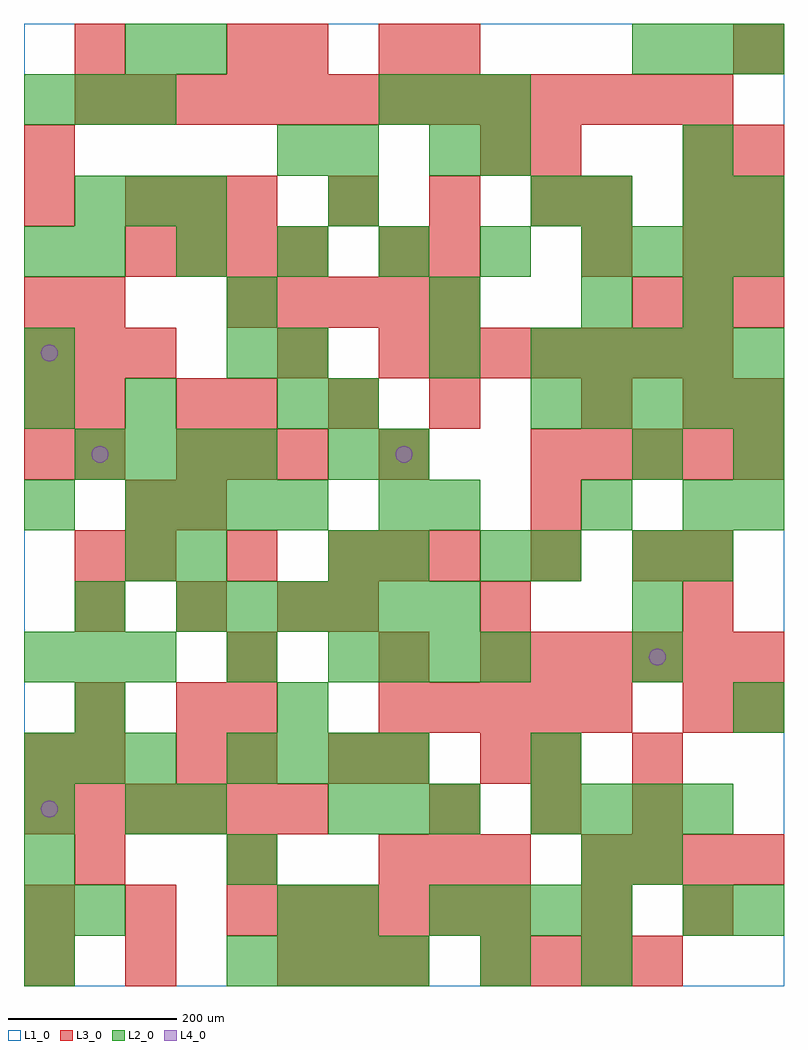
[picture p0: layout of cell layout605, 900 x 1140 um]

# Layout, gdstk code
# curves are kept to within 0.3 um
import gdstk
lib = gdstk.Library(unit=1e-6, precision=1e-09)
def R(c, l, rs):  # rectangles x0, y0, x1, y1
    for r in rs: c.add(gdstk.rectangle(r[:2], r[2:], *l))
def A(c, l, x, y, w, h, nx, ny, dx, dy):  # array of equal rectangles
    R(c, l, [(x+i*dx, y+j*dy, x+i*dx+w, y+j*dy+h) for i in range(nx) for j in range(ny)])
def P(c, l, *ps):  # polygons
    for p in ps: c.add(gdstk.Polygon(p, *l))
L1_0 = (1, 0)
L2_0 = (2, 0)
L3_0 = (3, 0)
L4_0 = (4, 0)

layout605 = lib.new_cell('layout605')
R(layout605, L1_0, [(0,0,900,1140)])
A(layout605, L2_0, 0, 0, 60, 60, 1, 4, 0, 60)
A(layout605, L2_0, 240, 0, 60, 60, 4, 2, 60, 240)
A(layout605, L2_0, 540, 0, 60, 60, 1, 3, 0, 480)
A(layout605, L2_0, 480, 60, 60, 60, 4, 1, 60, 0)
A(layout605, L2_0, 840, 60, 60, 60, 1, 3, 0, 240)
A(layout605, L2_0, 360, 180, 60, 60, 3, 1, 60, 0)
A(layout605, L2_0, 600, 180, 60, 60, 4, 1, 60, 0)
A(layout605, L2_0, 0, 240, 60, 60, 3, 2, 60, 120)
A(layout605, L2_0, 360, 360, 60, 60, 4, 1, 60, 0)
A(layout605, L2_0, 720, 360, 60, 60, 1, 3, 0, 60)
A(layout605, L2_0, 180, 420, 60, 60, 6, 1, 60, 0)
A(layout605, L2_0, 420, 480, 60, 60, 1, 3, 0, 60)
A(layout605, L2_0, 120, 540, 60, 60, 4, 1, 60, 0)
A(layout605, L2_0, 60, 600, 60, 60, 4, 1, 60, 0)
A(layout605, L2_0, 600, 660, 60, 60, 5, 2, 60, 60)
A(layout605, L2_0, 60, 840, 60, 60, 6, 1, 120, 0)
A(layout605, L2_0, 720, 840, 60, 60, 3, 2, 60, 240)
A(layout605, L2_0, 60, 900, 60, 60, 3, 1, 60, 0)
A(layout605, L2_0, 0, 1020, 60, 60, 3, 1, 60, 0)
A(layout605, L2_0, 420, 1020, 60, 60, 3, 1, 60, 0)
R(layout605, L2_0, [(660,0,720,60), (60,60,120,120), (300,60,360,120), (360,60,420,120), (780,60,840,120), (240,120,300,180), (660,120,720,180), (720,120,780,180), (120,180,180,240), (180,180,240,240), (600,240,660,300), (60,300,120,360), (300,300,360,360), (240,360,300,420), (60,420,120,480), (120,480,180,540), (180,480,240,540), (360,480,420,540), (600,480,660,540), (780,480,840,540), (0,540,60,600), (480,540,540,600), (660,540,720,600), (780,540,840,600), (360,600,420,660), (720,600,780,660), (840,600,900,660), (0,660,60,720), (120,660,180,720), (300,660,360,720), (360,660,420,720), (0,720,60,780), (240,720,300,780), (300,720,360,780), (480,720,540,780), (240,780,300,840), (480,780,540,840), (660,780,720,840), (780,780,840,840), (0,840,60,900), (360,900,420,960), (600,900,660,960), (660,900,720,960), (780,900,840,960), (840,900,900,960), (300,960,360,1020), (360,960,420,1020), (480,960,540,1020), (780,960,840,1020), (120,1080,180,1140), (180,1080,240,1140)])
A(layout605, L3_0, 300, 0, 60, 60, 3, 1, 60, 0)
A(layout605, L3_0, 540, 0, 60, 60, 4, 1, 60, 0)
A(layout605, L3_0, 0, 60, 60, 60, 3, 1, 120, 0)
A(layout605, L3_0, 300, 60, 60, 60, 5, 1, 60, 0)
A(layout605, L3_0, 60, 120, 60, 60, 3, 1, 180, 0)
A(layout605, L3_0, 660, 120, 60, 60, 4, 1, 60, 0)
A(layout605, L3_0, 0, 180, 60, 60, 6, 1, 60, 0)
A(layout605, L3_0, 480, 180, 60, 60, 3, 2, 120, 300)
A(layout605, L3_0, 240, 240, 60, 60, 1, 3, 0, 60)
A(layout605, L3_0, 420, 240, 60, 60, 1, 4, 0, 120)
A(layout605, L3_0, 420, 300, 60, 60, 5, 1, 60, 0)
A(layout605, L3_0, 540, 360, 60, 60, 6, 1, 60, 0)
A(layout605, L3_0, 60, 420, 60, 60, 3, 1, 120, 0)
A(layout605, L3_0, 120, 480, 60, 60, 3, 1, 120, 0)
A(layout605, L3_0, 780, 480, 60, 60, 1, 3, 0, 180)
A(layout605, L3_0, 180, 600, 60, 60, 3, 1, 60, 0)
A(layout605, L3_0, 600, 600, 60, 60, 5, 1, 60, 0)
A(layout605, L3_0, 0, 660, 60, 60, 1, 3, 0, 120)
A(layout605, L3_0, 240, 660, 60, 60, 3, 1, 120, 0)
A(layout605, L3_0, 0, 720, 60, 60, 3, 1, 60, 0)
A(layout605, L3_0, 420, 720, 60, 60, 7, 1, 60, 0)
A(layout605, L3_0, 240, 780, 60, 60, 5, 1, 60, 0)
A(layout605, L3_0, 720, 780, 60, 60, 3, 1, 60, 0)
A(layout605, L3_0, 120, 840, 60, 60, 4, 1, 60, 0)
A(layout605, L3_0, 840, 840, 60, 60, 1, 3, 0, 60)
A(layout605, L3_0, 120, 900, 60, 60, 3, 1, 60, 0)
A(layout605, L3_0, 360, 900, 60, 60, 3, 1, 120, 0)
A(layout605, L3_0, 60, 1020, 60, 60, 13, 1, 60, 0)
R(layout605, L3_0, [(0,0,60,60), (120,0,180,60), (660,60,720,120), (780,60,840,120), (480,120,540,180), (540,120,600,180), (0,240,60,300), (60,240,120,300), (180,240,240,300), (360,240,420,300), (540,240,600,300), (600,240,660,300), (720,240,780,300), (60,300,120,360), (180,300,240,360), (780,300,840,360), (840,300,900,360), (360,420,420,480), (540,420,600,480), (780,420,840,480), (60,480,120,540), (120,540,180,600), (180,540,240,600), (600,540,660,600), (0,600,60,660), (60,600,120,660), (60,660,120,720), (180,660,240,720), (660,660,720,720), (840,660,900,720), (300,720,360,780), (60,780,120,840), (420,840,480,900), (480,840,540,900), (660,840,720,900), (660,900,720,960), (780,900,840,960), (0,960,60,1020), (540,960,600,1020), (600,960,660,1020), (780,960,840,1020), (60,1080,120,1140), (240,1080,300,1140), (300,1080,360,1140), (420,1080,480,1140), (480,1080,540,1140), (840,1080,900,1140)])
P(layout605, L4_0, [(40,210),(39.239,213.827),(37.071,217.071),(33.827,219.239),(30,220),(26.173,219.239),(22.929,217.071),(20.761,213.827),(20,210),(20.761,206.173),(22.929,202.929),(26.173,200.761),(30,200),(33.827,200.761),(37.071,202.929),(39.239,206.173)],
  [(40,750),(39.239,753.827),(37.071,757.071),(33.827,759.239),(30,760),(26.173,759.239),(22.929,757.071),(20.761,753.827),(20,750),(20.761,746.173),(22.929,742.929),(26.173,740.761),(30,740),(33.827,740.761),(37.071,742.929),(39.239,746.173)],
  [(100,630),(99.239,633.827),(97.071,637.071),(93.827,639.239),(90,640),(86.173,639.239),(82.929,637.071),(80.761,633.827),(80,630),(80.761,626.173),(82.929,622.929),(86.173,620.761),(90,620),(93.827,620.761),(97.071,622.929),(99.239,626.173)],
  [(460,630),(459.239,633.827),(457.071,637.071),(453.827,639.239),(450,640),(446.173,639.239),(442.929,637.071),(440.761,633.827),(440,630),(440.761,626.173),(442.929,622.929),(446.173,620.761),(450,620),(453.827,620.761),(457.071,622.929),(459.239,626.173)],
  [(760,390),(759.239,393.827),(757.071,397.071),(753.827,399.239),(750,400),(746.173,399.239),(742.929,397.071),(740.761,393.827),(740,390),(740.761,386.173),(742.929,382.929),(746.173,380.761),(750,380),(753.827,380.761),(757.071,382.929),(759.239,386.173)])

lib.write_gds('layout605.gds')
